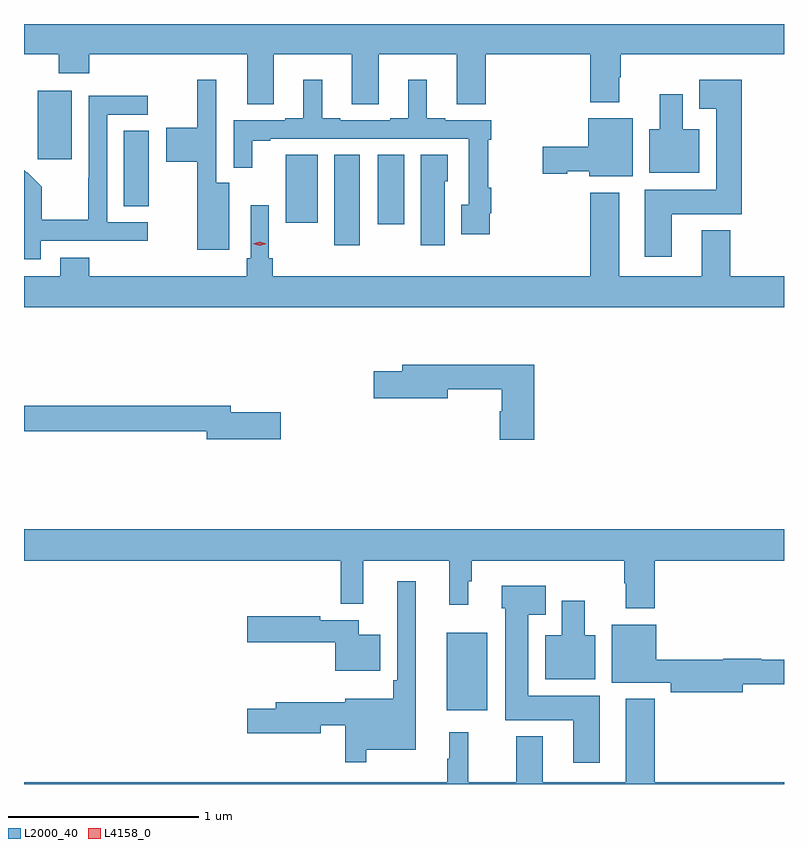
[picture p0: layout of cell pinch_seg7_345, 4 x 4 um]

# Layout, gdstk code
import gdstk
lib = gdstk.Library(unit=1e-6, precision=1e-09)
def R(c, l, rs):  # rectangles x0, y0, x1, y1
    for r in rs: c.add(gdstk.rectangle(r[:2], r[2:], *l))
def P(c, l, *ps):  # polygons
    for p in ps: c.add(gdstk.Polygon(p, *l))
L2000_40 = (2000, 40)
L4158_0 = (4158, 0)

pinch_seg7_345 = lib.new_cell('pinch_seg7_345')
R(pinch_seg7_345, L2000_40, [(450.767,1021.139,450.982,1021.549), (450.176,1023.588,450.31,1024.064), (450.404,1023.699,450.544,1024.064), (449.921,1023.705,450.088,1024.064), (449.069,1023.793,449.2,1024.19), (448.616,1024.041,448.795,1024.402)])
P(pinch_seg7_345, L2000_40, [(449.857,1024.592),(450.269,1024.592),(450.269,1024.33),(450.409,1024.33),(450.409,1024.592),(450.821,1024.592),(450.821,1024.33),(450.974,1024.33),(450.974,1024.592),(451.523,1024.592),(451.523,1024.34),(451.675,1024.34),(451.675,1024.472),(451.683,1024.472),(451.683,1024.592),(452.543,1024.592),(452.543,1024.752),(448.543,1024.752),(448.543,1024.592),(448.726,1024.592),(448.726,1024.493),(448.886,1024.493),(448.886,1024.592),(449.717,1024.592),(449.717,1024.33),(449.857,1024.33)],
  [(450.994,1023.757),(451.001,1023.757),(451.001,1023.889),(450.986,1023.889),(450.986,1024.142),(451.001,1024.142),(451.001,1024.245),(450.76,1024.245),(450.76,1024.257),(450.664,1024.257),(450.664,1024.459),(450.566,1024.459),(450.566,1024.257),(450.47,1024.257),(450.47,1024.245),(450.208,1024.245),(450.208,1024.257),(450.112,1024.257),(450.112,1024.459),(450.014,1024.459),(450.014,1024.257),(449.918,1024.257),(449.918,1024.245),(449.646,1024.245),(449.646,1023.996),(449.743,1023.996),(449.743,1024.137),(449.839,1024.137),(449.839,1024.149),(450.885,1024.149),(450.885,1023.801),(450.845,1023.801),(450.845,1023.645),(450.994,1023.645)],
  [(451.951,1023.752),(452.321,1023.752),(452.321,1024.459),(452.096,1024.459),(452.096,1024.307),(452.186,1024.307),(452.186,1023.88),(451.811,1023.88),(451.811,1023.528),(451.951,1023.528)],
  [(449.623,1023.916),(449.556,1023.916),(449.556,1024.459),(449.455,1024.459),(449.455,1024.206),(449.292,1024.206),(449.292,1024.028),(449.455,1024.028),(449.455,1023.564),(449.623,1023.564)],
  [(452.098,1024.198),(452.011,1024.198),(452.011,1024.381),(451.889,1024.381),(451.889,1024.198),(451.835,1024.198),(451.835,1023.968),(452.098,1023.968)],
  [(448.632,1023.612),(449.194,1023.612),(449.194,1023.708),(448.98,1023.708),(448.98,1024.275),(449.194,1024.275),(449.194,1024.374),(448.884,1024.374),(448.884,1023.944),(448.882,1023.944),(448.882,1023.721),(448.637,1023.721),(448.637,1023.895),(448.56,1023.972),(448.557,1023.969),(448.543,1023.983),(448.543,1023.515),(448.632,1023.515)],
  [(451.747,1024.255),(451.514,1024.255),(451.514,1024.107),(451.272,1024.107),(451.272,1023.965),(451.401,1023.965),(451.401,1023.977),(451.518,1023.977),(451.518,1023.95),(451.747,1023.95)],
  [(450.757,1023.924),(450.772,1023.924),(450.772,1024.064),(450.632,1024.064),(450.632,1023.588),(450.757,1023.588)],
  [(452.543,1023.424),(452.259,1023.424),(452.259,1023.667),(452.111,1023.667),(452.111,1023.424),(451.675,1023.424),(451.675,1023.865),(451.523,1023.865),(451.523,1023.424),(449.852,1023.424),(449.852,1023.52),(449.832,1023.52),(449.832,1023.799),(449.736,1023.799),(449.736,1023.52),(449.716,1023.52),(449.716,1023.424),(448.886,1023.424),(448.886,1023.523),(448.733,1023.523),(448.733,1023.424),(448.543,1023.424),(448.543,1023.26),(452.543,1023.26)],
  [(451.229,1022.959),(450.533,1022.959),(450.533,1022.925),(450.384,1022.925),(450.384,1022.783),(450.772,1022.783),(450.772,1022.83),(451.058,1022.83),(451.058,1022.715),(451.046,1022.715),(451.046,1022.565),(451.229,1022.565)],
  [(449.893,1022.708),(449.632,1022.708),(449.632,1022.744),(448.543,1022.744),(448.543,1022.608),(449.504,1022.608),(449.504,1022.566),(449.893,1022.566)],
  [(451.862,1021.928),(452.543,1021.928),(452.543,1022.092),(448.543,1022.092),(448.543,1021.928),(450.211,1021.928),(450.211,1021.7),(450.329,1021.7),(450.329,1021.928),(450.782,1021.928),(450.782,1021.695),(450.88,1021.695),(450.88,1021.82),(450.899,1021.82),(450.899,1021.928),(451.702,1021.928),(451.702,1021.808),(451.709,1021.808),(451.709,1021.676),(451.862,1021.676)],
  [(450.343,1020.932),(450.604,1020.932),(450.604,1021.819),(450.507,1021.819),(450.507,1021.297),(450.487,1021.297),(450.487,1021.201),(450.233,1021.201),(450.233,1021.183),(449.867,1021.183),(449.867,1021.149),(449.718,1021.149),(449.718,1021.019),(450.106,1021.019),(450.106,1021.062),(450.234,1021.062),(450.234,1020.867),(450.343,1020.867)],
  [(451.573,1021.216),(451.198,1021.216),(451.198,1021.643),(451.288,1021.643),(451.288,1021.795),(451.058,1021.795),(451.058,1021.677),(451.076,1021.677),(451.076,1021.088),(451.433,1021.088),(451.433,1020.864),(451.573,1020.864)],
  [(451.549,1021.534),(451.495,1021.534),(451.495,1021.717),(451.373,1021.717),(451.373,1021.534),(451.286,1021.534),(451.286,1021.304),(451.549,1021.304)],
  [(450.418,1021.537),(450.304,1021.537),(450.304,1021.615),(450.102,1021.615),(450.102,1021.635),(449.718,1021.635),(449.718,1021.498),(450.182,1021.498),(450.182,1021.349),(450.418,1021.349)],
  [(452.326,1021.276),(452.543,1021.276),(452.543,1021.405),(452.422,1021.405),(452.422,1021.412),(452.222,1021.412),(452.222,1021.406),(451.87,1021.406),(451.87,1021.591),(451.637,1021.591),(451.637,1021.286),(451.946,1021.286),(451.946,1021.234),(452.326,1021.234)],
  [(452.543,1020.76),(451.862,1020.76),(451.862,1021.201),(451.709,1021.201),(451.709,1020.76),(451.273,1020.76),(451.273,1021.003),(451.133,1021.003),(451.133,1020.76),(450.882,1020.76),(450.882,1021.024),(450.782,1021.024),(450.782,1020.884),(450.771,1020.884),(450.771,1020.76),(448.543,1020.76),(448.543,1020.752),(452.543,1020.752)])
P(pinch_seg7_345, L4158_0, [(449.783,1023.586),(449.747,1023.596),(449.747,1023.596),(449.747,1023.596),(449.783,1023.606),(449.818,1023.596),(449.818,1023.596),(449.818,1023.596)])

lib.write_gds('pinch_seg7_345.gds')
